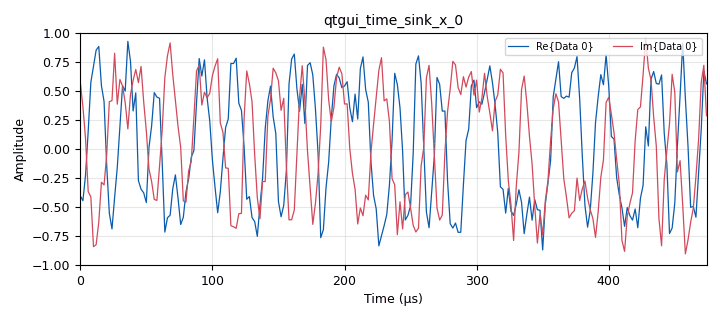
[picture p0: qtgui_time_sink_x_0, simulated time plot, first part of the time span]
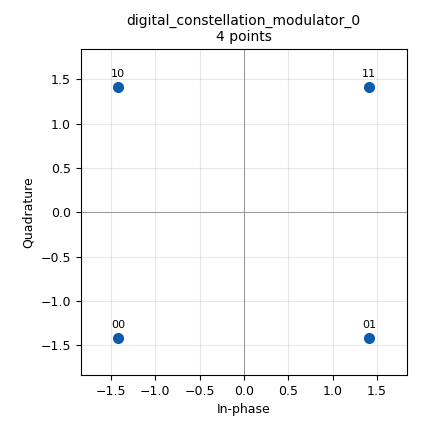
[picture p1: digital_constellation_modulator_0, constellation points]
options:
  parameters:
    author: Marc Lichtman
    comment: |-
      Run Rx first, then run Tx
      Close Rx first, then close Tx
    generate_options: qt_gui
    id: pn11_over_difi_tx
    output_language: python
    title: PN11 Over DIFI Tx
  states: {}

blocks:
- name: constellation_obj
  id: variable_constellation
  parameters:
    precision: '8'
    type: qpsk
  states: {}
- name: samp_rate
  id: variable
  parameters:
    value: '500000'
  states: {}
- name: sps
  id: variable
  parameters:
    value: '4'
  states: {}
- name: analog_fastnoise_source_x_0
  id: analog_fastnoise_source_x
  parameters:
    amp: '0.5'
    noise_type: analog.GR_GAUSSIAN
    samples: '8192'
    seed: '0'
    type: complex
  states: {}
- name: blocks_add_xx_0
  id: blocks_add_xx
  parameters:
    type: complex
  states: {}
- name: blocks_multiply_const_vxx_0
  id: blocks_multiply_const_vxx
  parameters:
    comment: 127 for 8-bit
    const: '127'
    type: complex
  states: {}
- name: blocks_multiply_const_vxx_0_0
  id: blocks_multiply_const_vxx
  parameters:
    comment: |-
      Signal should stay
      between -1 to +1
    const: '0.35'
    type: complex
  states: {}
- name: blocks_pack_k_bits_bb_0
  id: blocks_pack_k_bits_bb
  parameters:
    k: '8'
  states: {}
- name: blocks_throttle2_0
  id: blocks_throttle2
  parameters:
    samples_per_second: samp_rate
    type: byte
  states: {}
- name: difi_sink_cpp_0
  id: difi_sink_cpp
  parameters:
    bit_depth: '8'
    comment: |-
      there are 2 items going into the DIFI Sink for
      every 1 bit coming out of the source block
      (2 bits per symbol but 4 samples per symbol)
    context_pack_size: '108'
    context_packet_send_count: '10'
    data_size: '128'
    gain: '1.0'
    ip_addr: 127.0.0.1
    max_iq: '127'
    min_iq: '-127'
    mode: 'False'
    offset: '0'
    port: '50003'
    protocol: '1'
    reference_time_frac: '0'
    reference_time_full: '0'
    sample_rate: samp_rate
    scaling: '0'
    stream_id: '0'
    type: complex
  states: {}
- name: digital_constellation_modulator_0
  id: digital_constellation_modulator
  parameters:
    constellation: constellation_obj
    differential: 'False'
    excess_bw: '0.35'
    samples_per_symbol: sps
  states: {}
- name: epy_block_3
  id: epy_block
  parameters:
    _source_code: |
      from gnuradio import gr
      import numpy as np

      class pn11_source(gr.sync_block):
          def __init__(self):
              gr.sync_block.__init__(self,
                  name="PN11 Gen",
                  in_sig=None,
                  out_sig=[np.uint8])
              self.reg = 0x400 # seed, must be a non-zero 11-bit integer (1 to 2046)

          def work(self, input_items, output_items):
              out = output_items[0]
              for i in range(len(out)):
                  #out[i] = self.reg & 0x01  # Output LSB
                  out[i] = (self.reg >> 10) & 1

                  # Feedback = XOR of bit 11 and bit 9
                  bit_11 = (self.reg >> 10) & 0x01
                  bit_9 = (self.reg >> 8) & 0x01
                  new_bit = bit_11 ^ bit_9

                  # Shift register: shift right and insert new bit at MSB
                  #self.reg = ((self.reg >> 1) | (new_bit << 10)) & 0x7FF  # Mask to 11 bits
                  self.reg = ((self.reg << 1) & 0x7FF) | new_bit
              return len(out)
    comment: repeats every 2047 bits
  states: {}
- name: qtgui_time_sink_x_0
  id: qtgui_time_sink_x
  parameters:
    size: '1024'
    srate: samp_rate
    type: complex
  states: {}

connections:
- [analog_fastnoise_source_x_0, '0', blocks_add_xx_0, '0']
- [blocks_add_xx_0, '0', blocks_multiply_const_vxx_0_0, '0']
- [blocks_multiply_const_vxx_0, '0', difi_sink_cpp_0, '0']
- [blocks_multiply_const_vxx_0_0, '0', blocks_multiply_const_vxx_0, '0']
- [blocks_multiply_const_vxx_0_0, '0', qtgui_time_sink_x_0, '0']
- [blocks_pack_k_bits_bb_0, '0', digital_constellation_modulator_0, '0']
- [blocks_throttle2_0, '0', blocks_pack_k_bits_bb_0, '0']
- [digital_constellation_modulator_0, '0', blocks_add_xx_0, '1']
- [epy_block_3, '0', blocks_throttle2_0, '0']

metadata:
  file_format: 1
  grc_version: 3.10.9.2
